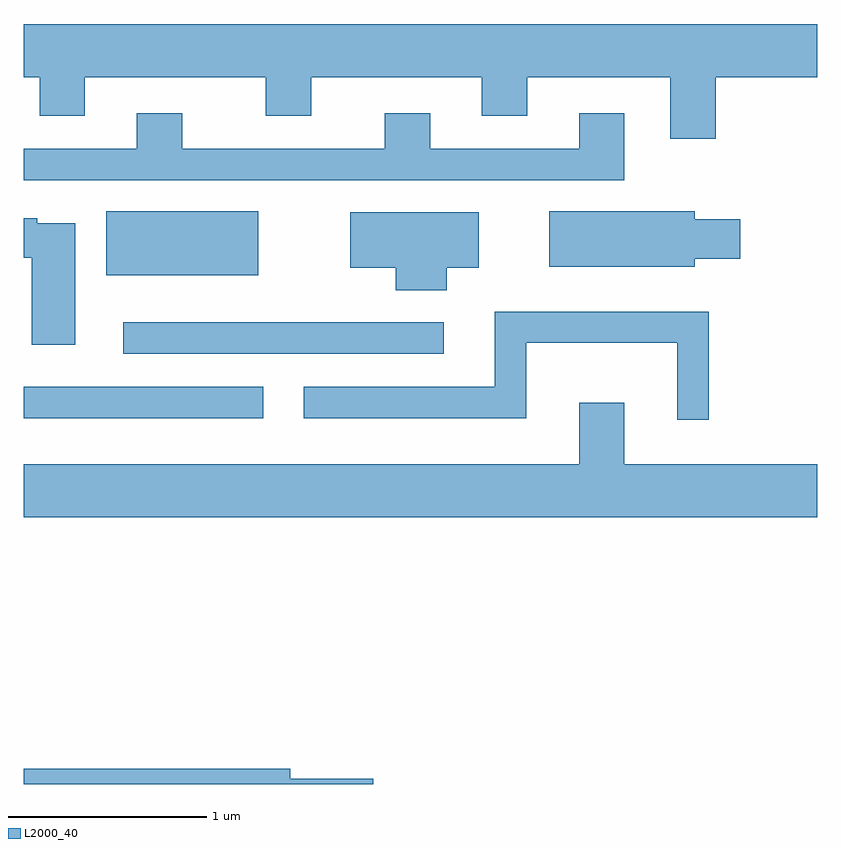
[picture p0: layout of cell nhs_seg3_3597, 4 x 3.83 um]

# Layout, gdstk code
import gdstk
lib = gdstk.Library(unit=1e-6, precision=1e-09)
def R(c, l, rs):  # rectangles x0, y0, x1, y1
    for r in rs: c.add(gdstk.rectangle(r[:2], r[2:], *l))
def P(c, l, *ps):  # polygons
    for p in ps: c.add(gdstk.Polygon(p, *l))
L2000_40 = (2000, 40)

nhs_seg3_3597 = lib.new_cell('nhs_seg3_3597')
R(nhs_seg3_3597, L2000_40, [(289.611,1239.736,290.818,1239.894), (290.113,1240.061,291.728,1240.219), (290.026,1240.456,290.794,1240.779)])
P(nhs_seg3_3597, L2000_40, [(293.099,1241.456),(293.611,1241.456),(293.611,1241.724),(289.611,1241.724),(289.611,1241.456),(289.691,1241.456),(289.691,1241.261),(289.919,1241.261),(289.919,1241.456),(290.831,1241.456),(290.831,1241.261),(291.059,1241.261),(291.059,1241.456),(291.921,1241.456),(291.921,1241.261),(292.149,1241.261),(292.149,1241.456),(292.871,1241.456),(292.871,1241.146),(293.099,1241.146)],
  [(292.639,1241.274),(292.411,1241.274),(292.411,1241.094),(291.659,1241.094),(291.659,1241.274),(291.431,1241.274),(291.431,1241.094),(290.409,1241.094),(290.409,1241.274),(290.181,1241.274),(290.181,1241.094),(289.611,1241.094),(289.611,1240.936),(292.639,1240.936)],
  [(292.994,1240.541),(293.224,1240.541),(293.224,1240.739),(292.994,1240.739),(292.994,1240.779),(292.261,1240.779),(292.261,1240.501),(292.994,1240.501)],
  [(291.744,1240.496),(291.904,1240.496),(291.904,1240.774),(291.256,1240.774),(291.256,1240.496),(291.486,1240.496),(291.486,1240.381),(291.744,1240.381)],
  [(289.869,1240.719),(289.679,1240.719),(289.679,1240.744),(289.611,1240.744),(289.611,1240.546),(289.651,1240.546),(289.651,1240.106),(289.869,1240.106)],
  [(293.064,1240.274),(291.986,1240.274),(291.986,1239.894),(291.023,1239.894),(291.023,1239.736),(292.144,1239.736),(292.144,1240.116),(292.906,1240.116),(292.906,1239.728),(293.064,1239.728)],
  [(293.611,1239.504),(292.639,1239.504),(292.639,1239.814),(292.411,1239.814),(292.411,1239.504),(289.611,1239.504),(289.611,1239.236),(293.611,1239.236)],
  [(291.374,1237.919),(290.954,1237.919),(290.954,1237.969),(289.611,1237.969),(289.611,1237.892),(291.374,1237.892)])

lib.write_gds('nhs_seg3_3597.gds')
